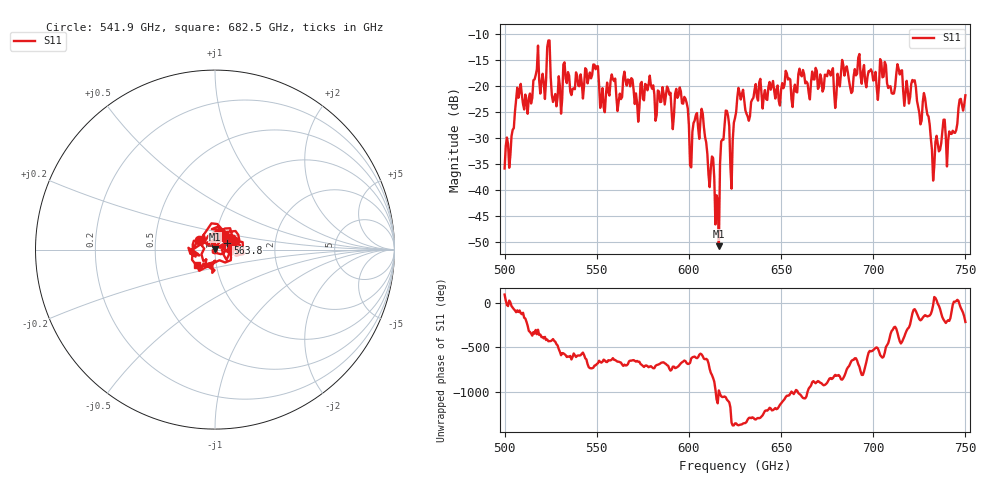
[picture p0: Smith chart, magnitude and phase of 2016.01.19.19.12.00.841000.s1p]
!Created with skrf (http://scikit-rf.org).
# GHz S RI R 50.0
!freq ReS11 ImS11
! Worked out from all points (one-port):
!   401 points, 500 GHz to 750 GHz, reference 50 ohm
!   lowest |S11| = -50.8 dB at 616.2 GHz (marker M1), VSWR 1.01, Z = 50 + j0.286 ohm
!   |S11| at or under -10 dB: start of sweep to end of sweep
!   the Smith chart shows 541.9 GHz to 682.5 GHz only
!   S11 on the Smith chart (normalised r, x): 541.9 GHz: 0.83, +0.09; 563.8 GHz: 1.15, +0.08; 682.5 GHz: 0.81, -0.14
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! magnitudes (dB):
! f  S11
! 500 GHz  -35.9
! 507.5 GHz  -22.3
! 513.8 GHz  -21.5
! 516.9 GHz  -18.0
! 531.2 GHz  -22.5
! 541.9 GHz  -19.4
! 549.4 GHz  -16.8
! 553.1 GHz  -20.5
! 558.8 GHz  -18.7
! 562.5 GHz  -21.5
! 563.8 GHz  -22.2
! 593.8 GHz  -22.3
! 601.2 GHz  -35.7
! 607.5 GHz  -25.3
! 615 GHz  -41.0
! 616.2 GHz  -50.8
! 619.4 GHz  -27.4
! 623.1 GHz  -39.8
! 625 GHz  -26.2
! 628.1 GHz  -22.6
! 631.9 GHz  -25.9
! 656.2 GHz  -24.1
! 682.5 GHz  -17.6
! 687.5 GHz  -20.3
! 718.8 GHz  -20.9
! 728.1 GHz  -22.4
! 732.5 GHz  -38.2
! 750 GHz  -21.8
